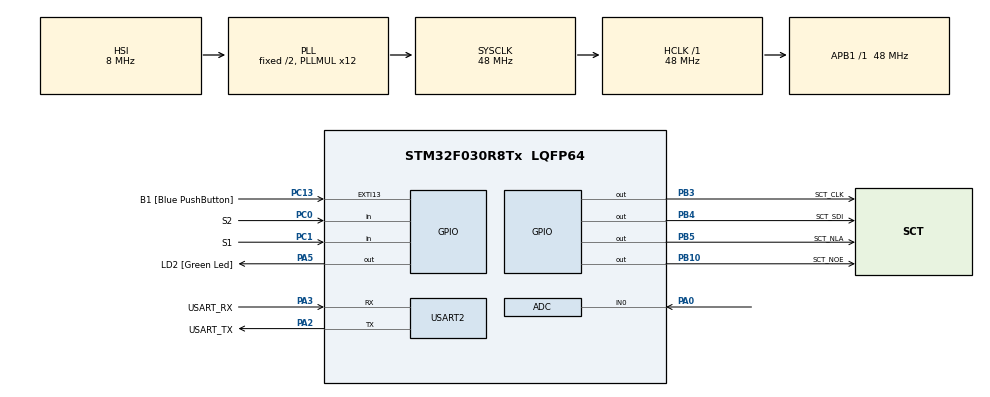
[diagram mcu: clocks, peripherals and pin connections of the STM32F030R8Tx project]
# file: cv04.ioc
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ADC.ContinuousConvMode=ENABLE
ADC.Overrun=ADC_OVR_DATA_OVERWRITTEN
ADC.SamplingTime=ADC_SAMPLETIME_239CYCLES_5
Mcu.Family=STM32F0
Mcu.Name=STM32F030R8Tx
Mcu.Package=LQFP64
NVIC.ADC1_IRQn=true\:0\:0\:false\:false\:true\:true\:true\:true
PA0.Mode=IN0
PA0.Signal=ADC_IN0
PA13.GPIO_Label=TMS
PA13.Mode=Serial_Wire
PA13.Signal=SYS_SWDIO
PA14.GPIO_Label=TCK
PA14.Mode=Serial_Wire
PA14.Signal=SYS_SWCLK
PA2.GPIO_Label=USART_TX
PA2.GPIO_Mode=GPIO_MODE_AF_PP
PA2.GPIO_PuPd=GPIO_NOPULL
PA2.GPIO_Speed=GPIO_SPEED_FREQ_LOW
PA2.Mode=Asynchronous
PA2.Signal=USART2_TX
PA3.GPIO_Label=USART_RX
PA3.GPIO_Mode=GPIO_MODE_AF_PP
PA3.GPIO_PuPd=GPIO_NOPULL
PA3.GPIO_Speed=GPIO_SPEED_FREQ_LOW
PA3.Mode=Asynchronous
PA3.Signal=USART2_RX
PA5.GPIO_Label=LD2 [Green Led]
PA5.GPIO_Mode=GPIO_MODE_OUTPUT_PP
PA5.GPIO_PuPd=GPIO_NOPULL
PA5.GPIO_Speed=GPIO_SPEED_FREQ_LOW
PA5.Signal=GPIO_Output
PB10.GPIO_Label=SCT_NOE
PB10.Signal=GPIO_Output
PB3.GPIO_Label=SCT_CLK
PB3.Signal=GPIO_Output
PB4.GPIO_Label=SCT_SDI
PB4.Signal=GPIO_Output
PB5.GPIO_Label=SCT_NLA
PB5.Signal=GPIO_Output
PC0.GPIO_Label=S2
PC0.GPIO_PuPd=GPIO_PULLUP
PC0.Signal=GPIO_Input
PC1.GPIO_Label=S1
PC1.GPIO_PuPd=GPIO_PULLUP
PC1.Signal=GPIO_Input
PC13.GPIO_Label=B1 [Blue PushButton]
PC13.GPIO_ModeDefaultEXTI=GPIO_MODE_IT_FALLING
PC13.Signal=GPXTI13
PC14-OSC32_IN.Mode=LSE-External-Oscillator
PC14-OSC32_IN.Signal=RCC_OSC32_IN
PC15-OSC32_OUT.Mode=LSE-External-Oscillator
PC15-OSC32_OUT.Signal=RCC_OSC32_OUT
PF0-OSC_IN.Mode=HSE-External-Clock-Source
PF0-OSC_IN.Signal=RCC_OSC_IN
PF1-OSC_OUT.Signal=RCC_OSC_OUT
ProjectManager.HeapSize=0x200
ProjectManager.StackSize=0x400
ProjectManager.TargetToolchain=STM32CubeIDE
RCC.AHBFreq_Value=48000000
RCC.APB1Freq_Value=48000000
RCC.APB1TimFreq_Value=48000000
RCC.HCLKFreq_Value=48000000
RCC.PLLMUL=RCC_PLL_MUL12
RCC.SYSCLKFreq_VALUE=48000000
RCC.SYSCLKSource=RCC_SYSCLKSOURCE_PLLCLK
USART2.VirtualMode-Asynchronous=VM_ASYNC
VP_ADC_TempSens_Input.Mode=IN-TempSens
VP_ADC_Vref_Input.Mode=IN-Vrefint
board=NUCLEO-F030R8

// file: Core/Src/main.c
/* USER CODE BEGIN Header */
/**
  ******************************************************************************
  * @file           : main.c
  * @brief          : Main program body
  ******************************************************************************
  * @attention
  *
  * Copyright (c) 2024 STMicroelectronics.
  * All rights reserved.
  *
  * This software is licensed under terms that can be found in the LICENSE file
  * in the root directory of this software component.
  * If no LICENSE file comes with this software, it is provided AS-IS.
  *
  ******************************************************************************
  */
/* USER CODE END Header */
#include "main.h"

/* USER CODE BEGIN Includes */
#include "sct.h"
/* USER CODE END Includes */

/* USER CODE BEGIN PD */

#define ADC_Q 12
#define DISP_DELAY 1000

/* Temperature sensor calibration value address */
#define TEMP110_CAL_ADDR ((uint16_t*) ((uint32_t) 0x1FFFF7C2))
#define TEMP30_CAL_ADDR ((uint16_t*) ((uint32_t) 0x1FFFF7B8))
/* Internal voltage reference calibration value address */
#define VREFINT_CAL_ADDR ((uint16_t*) ((uint32_t) 0x1FFFF7BA))

/* USER CODE END PD */

ADC_HandleTypeDef hadc;

UART_HandleTypeDef huart2;

void SystemClock_Config(void);
static void MX_GPIO_Init(void);
static void MX_USART2_UART_Init(void);
static void MX_ADC_Init(void);

/* USER CODE BEGIN 0 */

static volatile uint32_t raw_pot;
static volatile uint32_t raw_temp;
static volatile uint32_t raw_volt;

void HAL_ADC_ConvCpltCallback(ADC_HandleTypeDef* hadc)
{
	  static uint32_t avg_pot;
	  static uint8_t channel;

	  switch(channel)
	  {
		  case 0:
			  {
				  raw_pot = avg_pot >> ADC_Q;
				  avg_pot -= raw_pot;
				  avg_pot += HAL_ADC_GetValue(hadc);
				  break;
			  }
		  case 1:
			  {
				  raw_temp = HAL_ADC_GetValue(hadc);
				  break;
			  }
		  case 2:
			  {
				  raw_volt = HAL_ADC_GetValue(hadc);
				  break;
			  }
	  }

	  if (__HAL_ADC_GET_FLAG(hadc, ADC_FLAG_EOS)) channel = 0;
	  else channel++;
}

/* USER CODE END 0 */

int main(void)
{

  /* MCU Configuration--------------------------------------------------------*/

  /* Reset of all peripherals, Initializes the Flash interface and the Systick. */
  HAL_Init();

  /* Configure the system clock */
  SystemClock_Config();

  /* Initialize all configured peripherals */
  MX_GPIO_Init();
  MX_USART2_UART_Init();
  MX_ADC_Init();
  /* USER CODE BEGIN 2 */

  sct_init();
  HAL_ADCEx_Calibration_Start(&hadc);
  HAL_ADC_Start_IT(&hadc);

  /* USER CODE END 2 */

  /* Infinite loop */
  /* USER CODE BEGIN WHILE */
  while (1)
  {
	  static enum { SHOW_POT, SHOW_VOLT, SHOW_TEMP } state = SHOW_POT;
	  static uint32_t reset_time;
	  uint32_t voltage;
	  int32_t temperature;

	  switch(state)
	  {
		  case SHOW_POT:
		  {
			  sct_value((raw_pot * 501) / 4096, (raw_pot * 9) / 4096);

			  break;
		  }
		  case SHOW_VOLT:
		  {
			  voltage = 330 * (*VREFINT_CAL_ADDR) / raw_volt;

			  sct_value(voltage, 0);

			  break;
		  }
		  case SHOW_TEMP:
		  {
			  temperature = (raw_temp - (int32_t)(*TEMP30_CAL_ADDR));
			  temperature = temperature * (int32_t)(110 - 30);
			  temperature = temperature / (int32_t)(*TEMP110_CAL_ADDR - *TEMP30_CAL_ADDR);
			  temperature = temperature + 30;

			  sct_value(temperature, 0);

			  break;
		  }
	  }

	   if (HAL_GetTick() > reset_time) {
		   state = SHOW_POT;
	   }

	   if (!HAL_GPIO_ReadPin(S1_GPIO_Port, S1_Pin)) {
		   reset_time = HAL_GetTick() + DISP_DELAY;
		   state = SHOW_VOLT;
	   }

	   if (!HAL_GPIO_ReadPin(S2_GPIO_Port, S2_Pin)) {
		   reset_time = HAL_GetTick() + DISP_DELAY;
		   state = SHOW_TEMP;
	   }

	   HAL_Delay(50);
    /* USER CODE END WHILE */

  }
}

void SystemClock_Config(void)
{
  RCC_OscInitTypeDef RCC_OscInitStruct = {0};
  RCC_ClkInitTypeDef RCC_ClkInitStruct = {0};

  /** Initializes the RCC Oscillators according to the specified parameters
  * in the RCC_OscInitTypeDef structure.
  */
  RCC_OscInitStruct.OscillatorType = RCC_OSCILLATORTYPE_HSI|RCC_OSCILLATORTYPE_HSI14;
  RCC_OscInitStruct.HSIState = RCC_HSI_ON;
  RCC_OscInitStruct.HSI14State = RCC_HSI14_ON;
  RCC_OscInitStruct.HSICalibrationValue = RCC_HSICALIBRATION_DEFAULT;
  RCC_OscInitStruct.HSI14CalibrationValue = 16;
  RCC_OscInitStruct.PLL.PLLState = RCC_PLL_ON;
  RCC_OscInitStruct.PLL.PLLSource = RCC_PLLSOURCE_HSI;
  RCC_OscInitStruct.PLL.PLLMUL = RCC_PLL_MUL12;
  RCC_OscInitStruct.PLL.PREDIV = RCC_PREDIV_DIV1;
  if (HAL_RCC_OscConfig(&RCC_OscInitStruct) != HAL_OK)
  {
    Error_Handler();
  }

  /** Initializes the CPU, AHB and APB buses clocks
  */
  RCC_ClkInitStruct.ClockType = RCC_CLOCKTYPE_HCLK|RCC_CLOCKTYPE_SYSCLK
                              |RCC_CLOCKTYPE_PCLK1;
  RCC_ClkInitStruct.SYSCLKSource = RCC_SYSCLKSOURCE_PLLCLK;
  RCC_ClkInitStruct.AHBCLKDivider = RCC_SYSCLK_DIV1;
  RCC_ClkInitStruct.APB1CLKDivider = RCC_HCLK_DIV1;

  if (HAL_RCC_ClockConfig(&RCC_ClkInitStruct, FLASH_LATENCY_1) != HAL_OK)
  {
    Error_Handler();
  }
}

static void MX_ADC_Init(void)
{

  ADC_ChannelConfTypeDef sConfig = {0};

  /** Configure the global features of the ADC (Clock, Resolution, Data Alignment and number of conversion)
  */
  hadc.Instance = ADC1;
  hadc.Init.ClockPrescaler = ADC_CLOCK_ASYNC_DIV1;
  hadc.Init.Resolution = ADC_RESOLUTION_12B;
  hadc.Init.DataAlign = ADC_DATAALIGN_RIGHT;
  hadc.Init.ScanConvMode = ADC_SCAN_DIRECTION_FORWARD;
  hadc.Init.EOCSelection = ADC_EOC_SINGLE_CONV;
  hadc.Init.LowPowerAutoWait = DISABLE;
  hadc.Init.LowPowerAutoPowerOff = DISABLE;
  hadc.Init.ContinuousConvMode = ENABLE;
  hadc.Init.DiscontinuousConvMode = DISABLE;
  hadc.Init.ExternalTrigConv = ADC_SOFTWARE_START;
  hadc.Init.ExternalTrigConvEdge = ADC_EXTERNALTRIGCONVEDGE_NONE;
  hadc.Init.DMAContinuousRequests = DISABLE;
  hadc.Init.Overrun = ADC_OVR_DATA_OVERWRITTEN;
  if (HAL_ADC_Init(&hadc) != HAL_OK)
  {
    Error_Handler();
  }

  /** Configure for the selected ADC regular channel to be converted.
  */
  sConfig.Channel = ADC_CHANNEL_0;
  sConfig.Rank = ADC_RANK_CHANNEL_NUMBER;
  sConfig.SamplingTime = ADC_SAMPLETIME_239CYCLES_5;
  if (HAL_ADC_ConfigChannel(&hadc, &sConfig) != HAL_OK)
  {
    Error_Handler();
  }

  /** Configure for the selected ADC regular channel to be converted.
  */
  sConfig.Channel = ADC_CHANNEL_TEMPSENSOR;
  if (HAL_ADC_ConfigChannel(&hadc, &sConfig) != HAL_OK)
  {
    Error_Handler();
  }

  /** Configure for the selected ADC regular channel to be converted.
  */
  sConfig.Channel = ADC_CHANNEL_VREFINT;
  if (HAL_ADC_ConfigChannel(&hadc, &sConfig) != HAL_OK)
  {
    Error_Handler();
  }

}

static void MX_USART2_UART_Init(void)
{

  huart2.Instance = USART2;
  huart2.Init.BaudRate = 38400;
  huart2.Init.WordLength = UART_WORDLENGTH_8B;
  huart2.Init.StopBits = UART_STOPBITS_1;
  huart2.Init.Parity = UART_PARITY_NONE;
  huart2.Init.Mode = UART_MODE_TX_RX;
  huart2.Init.HwFlowCtl = UART_HWCONTROL_NONE;
  huart2.Init.OverSampling = UART_OVERSAMPLING_16;
  huart2.Init.OneBitSampling = UART_ONE_BIT_SAMPLE_DISABLE;
  huart2.AdvancedInit.AdvFeatureInit = UART_ADVFEATURE_NO_INIT;
  if (HAL_UART_Init(&huart2) != HAL_OK)
  {
    Error_Handler();
  }

}

static void MX_GPIO_Init(void)
{
  GPIO_InitTypeDef GPIO_InitStruct = {0};

  /* GPIO Ports Clock Enable */
  __HAL_RCC_GPIOC_CLK_ENABLE();
  __HAL_RCC_GPIOF_CLK_ENABLE();
  __HAL_RCC_GPIOA_CLK_ENABLE();
  __HAL_RCC_GPIOB_CLK_ENABLE();

  /*Configure GPIO pin Output Level */
  HAL_GPIO_WritePin(LD2_GPIO_Port, LD2_Pin, GPIO_PIN_RESET);

  /*Configure GPIO pin Output Level */
  HAL_GPIO_WritePin(GPIOB, SCT_NOE_Pin|SCT_CLK_Pin|SCT_SDI_Pin|SCT_NLA_Pin, GPIO_PIN_RESET);

  /*Configure GPIO pin : B1_Pin */
  GPIO_InitStruct.Pin = B1_Pin;
  GPIO_InitStruct.Mode = GPIO_MODE_IT_FALLING;
  GPIO_InitStruct.Pull = GPIO_NOPULL;
  HAL_GPIO_Init(B1_GPIO_Port, &GPIO_InitStruct);

  /*Configure GPIO pins : S2_Pin S1_Pin */
  GPIO_InitStruct.Pin = S2_Pin|S1_Pin;
  GPIO_InitStruct.Mode = GPIO_MODE_INPUT;
  GPIO_InitStruct.Pull = GPIO_PULLUP;
  HAL_GPIO_Init(GPIOC, &GPIO_InitStruct);

  /*Configure GPIO pin : LD2_Pin */
  GPIO_InitStruct.Pin = LD2_Pin;
  GPIO_InitStruct.Mode = GPIO_MODE_OUTPUT_PP;
  GPIO_InitStruct.Pull = GPIO_NOPULL;
  GPIO_InitStruct.Speed = GPIO_SPEED_FREQ_LOW;
  HAL_GPIO_Init(LD2_GPIO_Port, &GPIO_InitStruct);

  /*Configure GPIO pins : SCT_NOE_Pin SCT_CLK_Pin SCT_SDI_Pin SCT_NLA_Pin */
  GPIO_InitStruct.Pin = SCT_NOE_Pin|SCT_CLK_Pin|SCT_SDI_Pin|SCT_NLA_Pin;
  GPIO_InitStruct.Mode = GPIO_MODE_OUTPUT_PP;
  GPIO_InitStruct.Pull = GPIO_NOPULL;
  GPIO_InitStruct.Speed = GPIO_SPEED_FREQ_LOW;
  HAL_GPIO_Init(GPIOB, &GPIO_InitStruct);

}

void Error_Handler(void)
{
  __disable_irq();
  while (1)
  {
  }
}
